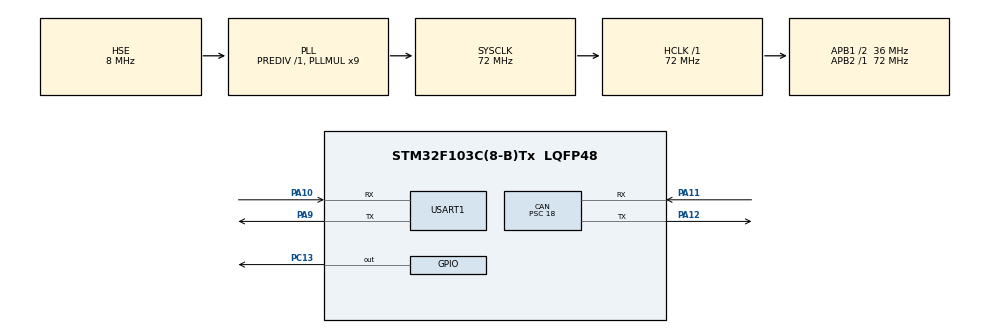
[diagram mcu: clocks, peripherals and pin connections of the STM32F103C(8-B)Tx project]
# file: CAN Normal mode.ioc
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CAN.BS1=CAN_BS1_2TQ
CAN.CalculateBaudRate=500000
CAN.CalculateTimeBit=2000
CAN.CalculateTimeQuantum=500.0
CAN.Prescaler=18
Mcu.Family=STM32F1
Mcu.Name=STM32F103C(8-B)Tx
Mcu.Package=LQFP48
NVIC.CAN1_RX1_IRQn=true\:0\:0\:false\:false\:true\:true\:true\:true
NVIC.PriorityGroup=NVIC_PRIORITYGROUP_4
NVIC.USART1_IRQn=true\:0\:0\:false\:false\:true\:true\:true\:true
NVIC.USB_LP_CAN1_RX0_IRQn=true\:0\:0\:false\:false\:true\:true\:true\:true
PA10.Mode=Asynchronous
PA10.Signal=USART1_RX
PA11.Mode=CAN_Activate
PA11.Signal=CAN_RX
PA12.Mode=CAN_Activate
PA12.Signal=CAN_TX
PA13.Mode=Serial_Wire
PA13.Signal=SYS_JTMS-SWDIO
PA14.Mode=Serial_Wire
PA14.Signal=SYS_JTCK-SWCLK
PA9.Mode=Asynchronous
PA9.Signal=USART1_TX
PC13-TAMPER-RTC.Signal=GPIO_Output
PD0-OSC_IN.Mode=HSE-External-Oscillator
PD0-OSC_IN.Signal=RCC_OSC_IN
PD1-OSC_OUT.Mode=HSE-External-Oscillator
PD1-OSC_OUT.Signal=RCC_OSC_OUT
ProjectManager.HeapSize=0x200
ProjectManager.StackSize=0x400
ProjectManager.TargetToolchain=MDK-ARM V5.32
RCC.AHBFreq_Value=72000000
RCC.APB1CLKDivider=RCC_HCLK_DIV2
RCC.APB1Freq_Value=36000000
RCC.APB1TimFreq_Value=72000000
RCC.APB2Freq_Value=72000000
RCC.APB2TimFreq_Value=72000000
RCC.HCLKFreq_Value=72000000
RCC.PLLMUL=RCC_PLL_MUL9
RCC.PLLSourceVirtual=RCC_PLLSOURCE_HSE
RCC.SYSCLKFreq_VALUE=72000000
RCC.SYSCLKSource=RCC_SYSCLKSOURCE_PLLCLK
RCC.USBFreq_Value=72000000
USART1.VirtualMode=VM_ASYNC
board=custom

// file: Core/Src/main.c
/* USER CODE BEGIN Header */
/**
  ******************************************************************************
  * @file           : main.c
  * @brief          : Main program body
  ******************************************************************************
  * @attention
  *
  * Copyright (c) 2022 STMicroelectronics.
  * All rights reserved.
  *
  * This software is licensed under terms that can be found in the LICENSE file
  * in the root directory of this software component.
  * If no LICENSE file comes with this software, it is provided AS-IS.
  *
  ******************************************************************************
  */
/* USER CODE END Header */
#include "main.h"

/* USER CODE BEGIN Includes */
int a,b;
#include "string.h"
#include "stdio.h"
/* USER CODE END Includes */

/* USER CODE BEGIN PTD */
uint8_t rxBuffer[15];
uint8_t rxdata[10];
uint8_t rxIndex = 0;
int 	 re[9];
char buffer[32]; // buffer to hold the string
char txBuffer[32];
/* USER CODE END PTD */

 CAN_HandleTypeDef hcan;

UART_HandleTypeDef huart1;

void SystemClock_Config(void);
static void MX_GPIO_Init(void);
static void MX_CAN_Init(void);
static void MX_USART1_UART_Init(void);

/* USER CODE BEGIN 0 */
CAN_TxHeaderTypeDef   TxHeader;
CAN_RxHeaderTypeDef   RxHeader;
uint8_t               TxData[9];
uint8_t               RxData[8];
uint8_t               RxData1[9];
uint32_t              TxMailbox;
int datacheck=0,angle1,angle2,angle3;
void HAL_CAN_RxFifo1MsgPendingCallback(CAN_HandleTypeDef *hcan)
{
	datacheck=1;
	//HAL_CAN_GetRxMessage(hcan,CAN_RX_FIFO1,&RxHeader,RxData);

      if (HAL_CAN_GetRxMessage(hcan, CAN_RX_FIFO1,&RxHeader,RxData)!=HAL_OK)
  {
    Error_Handler();
  }
	if (RxHeader.StdId==0x124)
      {
        RxData1[0]=RxData[0];
				RxData1[1]=RxData[1];
	   		RxData1[2]=RxData[2];
	angle1=(RxData[0]*100)+(RxData[1]*10)+(RxData[2]*1);
      }
	if (RxHeader.StdId==0x136)
      {
	    RxData1[3]=RxData[0];
			RxData1[4]=RxData[1];
		  RxData1[5]=RxData[2];
	angle2=(RxData[0]*100)+(RxData[1]*10)+(RxData[2]*1);
      }
	if (RxHeader.StdId==0x177)
      {
		    RxData1[6]=RxData[0];
				RxData1[7]=RxData[1];
			 RxData1[8]=RxData[2];
	angle3=(RxData[0]*100)+(RxData[1]*10)+(RxData[2]*1);
      }

		}
/* USER CODE END 0 */

int main(void)
{

  /* MCU Configuration--------------------------------------------------------*/

  /* Reset of all peripherals, Initializes the Flash interface and the Systick. */
  HAL_Init();

  /* Configure the system clock */
  SystemClock_Config();

  /* Initialize all configured peripherals */
  MX_GPIO_Init();
  MX_CAN_Init();
  MX_USART1_UART_Init();
  /* USER CODE BEGIN 2 */

//HAL_CAN_Init(&hcan);
  HAL_CAN_Start(&hcan);
HAL_CAN_ActivateNotification(&hcan, CAN_IT_RX_FIFO1_MSG_PENDING);
TxHeader.DLC =10;
RxHeader.DLC =3;
TxHeader.IDE = CAN_ID_STD;
TxHeader.RTR = CAN_RTR_DATA;
TxHeader.StdId = 0xFFFE;
TxHeader.TransmitGlobalTime=DISABLE;
TxHeader.ExtId=0;
HAL_UART_Init(&huart1);
 HAL_UART_Receive_IT(&huart1,rxBuffer,12);
 //re[0]=0;
  /* USER CODE END 2 */

  /* Infinite loop */
  /* USER CODE BEGIN WHILE */
  while (1)
  {
		a++;
		if(datacheck==1)
		{
		    sprintf(txBuffer, "Angle 1  = %i \r\n",angle1);
    HAL_UART_Transmit(&huart1, (uint8_t*)txBuffer, strlen(txBuffer),HAL_MAX_DELAY);
		sprintf(txBuffer, "Angle 2  =is %i \r\n",angle2);
    HAL_UART_Transmit(&huart1, (uint8_t*)txBuffer, strlen(txBuffer),HAL_MAX_DELAY);
		 sprintf(txBuffer, "Angle 3 =is %i \r\n",angle3);
    HAL_UART_Transmit(&huart1, (uint8_t*)txBuffer, strlen(txBuffer),HAL_MAX_DELAY);
			datacheck=0;
		}

		// 	HAL_Delay(1000);
    /* USER CODE END WHILE */

    /* USER CODE BEGIN 3 */

		  /*
		TxData[0]=1;
	        TxData[1]=2;
	        TxData[2]=3;
	        TxData[3]=4;
	        TxData[4]=5;
	        TxData[5]=6;
	        TxData[6]=7;
	        TxData[7]=8;
	        TxData[8]=9;
	      HAL_CAN_AddTxMessage(&hcan,&TxHeader,TxData,&TxMailbox);
		TxData[0]=2;
			  TxData[1]=b;
	      HAL_CAN_AddTxMessage(&hcan,&TxHeader,TxData,&TxMailbox);
		    HAL_Delay(10);
		HAL_Delay(100);
		*/
  }

  /* USER CODE END 3 */
}

void SystemClock_Config(void)
{
  RCC_OscInitTypeDef RCC_OscInitStruct = {0};
  RCC_ClkInitTypeDef RCC_ClkInitStruct = {0};

  /** Initializes the RCC Oscillators according to the specified parameters
  * in the RCC_OscInitTypeDef structure.
  */
  RCC_OscInitStruct.OscillatorType = RCC_OSCILLATORTYPE_HSE;
  RCC_OscInitStruct.HSEState = RCC_HSE_ON;
  RCC_OscInitStruct.HSEPredivValue = RCC_HSE_PREDIV_DIV1;
  RCC_OscInitStruct.HSIState = RCC_HSI_ON;
  RCC_OscInitStruct.PLL.PLLState = RCC_PLL_ON;
  RCC_OscInitStruct.PLL.PLLSource = RCC_PLLSOURCE_HSE;
  RCC_OscInitStruct.PLL.PLLMUL = RCC_PLL_MUL9;
  if (HAL_RCC_OscConfig(&RCC_OscInitStruct) != HAL_OK)
  {
    Error_Handler();
  }

  /** Initializes the CPU, AHB and APB buses clocks
  */
  RCC_ClkInitStruct.ClockType = RCC_CLOCKTYPE_HCLK|RCC_CLOCKTYPE_SYSCLK
                              |RCC_CLOCKTYPE_PCLK1|RCC_CLOCKTYPE_PCLK2;
  RCC_ClkInitStruct.SYSCLKSource = RCC_SYSCLKSOURCE_PLLCLK;
  RCC_ClkInitStruct.AHBCLKDivider = RCC_SYSCLK_DIV1;
  RCC_ClkInitStruct.APB1CLKDivider = RCC_HCLK_DIV2;
  RCC_ClkInitStruct.APB2CLKDivider = RCC_HCLK_DIV1;

  if (HAL_RCC_ClockConfig(&RCC_ClkInitStruct, FLASH_LATENCY_2) != HAL_OK)
  {
    Error_Handler();
  }
}

static void MX_CAN_Init(void)
{

  hcan.Instance = CAN1;
  hcan.Init.Prescaler = 18;
  hcan.Init.Mode = CAN_MODE_NORMAL;
  hcan.Init.SyncJumpWidth = CAN_SJW_1TQ;
  hcan.Init.TimeSeg1 = CAN_BS1_2TQ;
  hcan.Init.TimeSeg2 = CAN_BS2_1TQ;
  hcan.Init.TimeTriggeredMode = DISABLE;
  hcan.Init.AutoBusOff = DISABLE;
  hcan.Init.AutoWakeUp = DISABLE;
  hcan.Init.AutoRetransmission = DISABLE;
  hcan.Init.ReceiveFifoLocked = DISABLE;
  hcan.Init.TransmitFifoPriority = DISABLE;
  if (HAL_CAN_Init(&hcan) != HAL_OK)
  {
    Error_Handler();
  }
  /* USER CODE BEGIN CAN_Init 2 */

 CAN_FilterTypeDef canfilterconfig;
  canfilterconfig.FilterActivation = CAN_FILTER_ENABLE;
  canfilterconfig.FilterBank =13;  // which filter bank to use from the assigned ones
  canfilterconfig.FilterFIFOAssignment = CAN_FILTER_FIFO1;
  canfilterconfig.FilterIdHigh = 0x124<<5;
  canfilterconfig.FilterIdLow = 0x0000;
  canfilterconfig.FilterMaskIdHigh = 0x124<<5;
  canfilterconfig.FilterMaskIdLow = 0x0000;
  canfilterconfig.FilterMode = CAN_FILTERMODE_IDMASK;
  canfilterconfig.FilterScale = CAN_FILTERSCALE_32BIT;
  canfilterconfig.SlaveStartFilterBank =10;  // how many filters to assign to the CAN1 (master can)
  HAL_CAN_ConfigFilter(&hcan,&canfilterconfig);
  /* USER CODE END CAN_Init 2 */

}

static void MX_USART1_UART_Init(void)
{

  huart1.Instance = USART1;
  huart1.Init.BaudRate = 115200;
  huart1.Init.WordLength = UART_WORDLENGTH_8B;
  huart1.Init.StopBits = UART_STOPBITS_1;
  huart1.Init.Parity = UART_PARITY_NONE;
  huart1.Init.Mode = UART_MODE_TX_RX;
  huart1.Init.HwFlowCtl = UART_HWCONTROL_NONE;
  huart1.Init.OverSampling = UART_OVERSAMPLING_16;
  if (HAL_UART_Init(&huart1) != HAL_OK)
  {
    Error_Handler();
  }

}

static void MX_GPIO_Init(void)
{
  GPIO_InitTypeDef GPIO_InitStruct = {0};

  /* GPIO Ports Clock Enable */
  __HAL_RCC_GPIOC_CLK_ENABLE();
  __HAL_RCC_GPIOD_CLK_ENABLE();
  __HAL_RCC_GPIOA_CLK_ENABLE();

  /*Configure GPIO pin Output Level */
  HAL_GPIO_WritePin(GPIOC, GPIO_PIN_13, GPIO_PIN_RESET);

  /*Configure GPIO pin : PC13 */
  GPIO_InitStruct.Pin = GPIO_PIN_13;
  GPIO_InitStruct.Mode = GPIO_MODE_OUTPUT_PP;
  GPIO_InitStruct.Pull = GPIO_NOPULL;
  GPIO_InitStruct.Speed = GPIO_SPEED_FREQ_LOW;
  HAL_GPIO_Init(GPIOC, &GPIO_InitStruct);

}

/* USER CODE BEGIN 4 */
 void HAL_UART_RxCpltCallback(UART_HandleTypeDef*huart)
{
	   	 re[0]=rxBuffer[0]-'0';
	     re[1]=rxBuffer[1]-'0';
	     re[2]=rxBuffer[2]-'0';
	     re[3]=rxBuffer[4]-'0';
	     re[4]=rxBuffer[5]-'0';
	     re[5]=rxBuffer[6]-'0';
	     re[6]=rxBuffer[8]-'0';
	     re[7]=rxBuffer[9]-'0';
	     re[8]=rxBuffer[10]-'0';
   HAL_UART_Receive_IT(&huart1,rxBuffer,12); // Enabling interrupt receive again
			    TxData[0]=re[0];
	        TxData[1]=re[1];
	        TxData[2]=re[2];
	        TxData[3]=re[3];
	        TxData[4]=re[4];
	        TxData[5]=re[5];
	        TxData[6]=re[6];
	        TxData[7]=re[7];
	        TxData[8]=re[8];
	      HAL_CAN_AddTxMessage(&hcan,&TxHeader,TxData,&TxMailbox);
/*
	rxBuffer[0]=0;
	rxBuffer[0]=0;
	rxBuffer[0]=0;
	*/
}
/* USER CODE END 4 */

void Error_Handler(void)
{
  __disable_irq();
  while (1)
  {
  }
}
